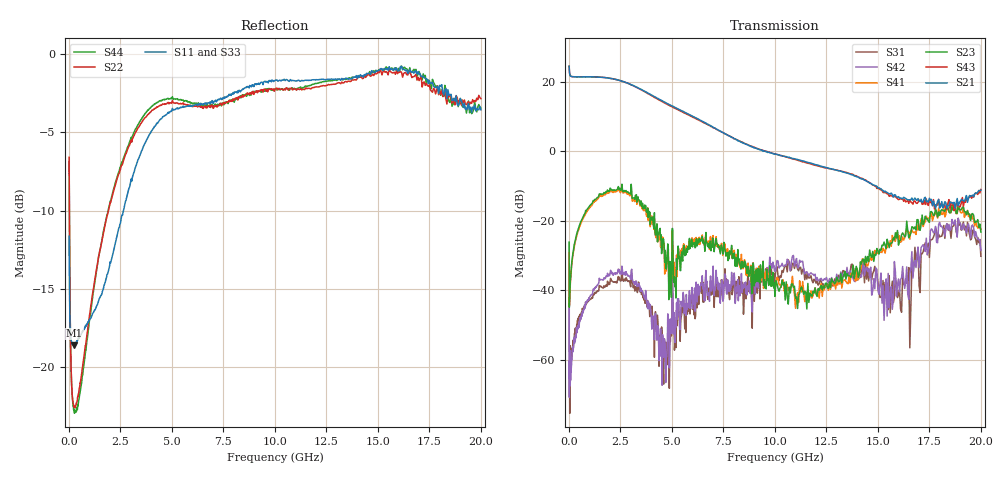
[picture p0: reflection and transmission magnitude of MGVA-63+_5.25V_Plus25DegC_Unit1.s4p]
!Mini-Circuits Laboratory
!S-Parameters
!Model: MGVA-63+
!Run / Lot / Date Code: NA / AH404P001-04 / 1348
!Fixture: NA; TB-561+
!AUTO PORT EXTENSION DONE: PORT<1>=113.62ps; PORT<2>=112.79ps; PORT<3>=112.29ps; PORT<4>=112.3ps
!Network Analyzer: PNA-X N5242A - 423 4 ports;  Serial number: 71256
!Date: 2/10/20114
!S/N: Unit# 1
!Correction: S11(Full 4 Port(1,2,3,4))
!S12(Full 4 Port(1,2,3,4))
!S13(Full 4 Port(1,2,3,4))
!S14(Full 4 Port(1,2,3,4))
!S21(Full 4 Port(1,2,3,4))
!S22(Full 4 Port(1,2,3,4))
!S23(Full 4 Port(1,2,3,4))
!S24(Full 4 Port(1,2,3,4))
!S31(Full 4 Port(1,2,3,4))
!S32(Full 4 Port(1,2,3,4))
!S33(Full 4 Port(1,2,3,4))
!S34(Full 4 Port(1,2,3,4))
!S41(Full 4 Port(1,2,3,4))
!S42(Full 4 Port(1,2,3,4))
!S43(Full 4 Port(1,2,3,4))
!S44(Full 4 Port(1,2,3,4))
!S4P File: Measurements: <S11,S12,S13,S14>,
!<S21,S22,S23,S24>,
!<S31,S32,S33,S34>,
!<S41,S42,S43,S44>:
# Hz S  dB  R 50
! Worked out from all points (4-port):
!   660 points, 10 MHz to 20 GHz, reference 50 ohm
!   strongest paths, dB at 10 MHz, 2.65 GHz, 6.775 GHz, 11.8 GHz, 20 GHz:
!     S21: 24.5, 20.1, 7.7, -3.5, -11.2
!     S43: 24.5, 20.0, 7.5, -3.8, -11.0
!     S23: -26.1, -11.6, -27.6, -41.7, -23.2
!     S41: -29.0, -12.0, -25.8, -42.2, -22.4
!     S42: -36.8, -35.4, -40.7, -35.2, -28.5
!     S31: -38.7, -37.4, -39.4, -37.1, -30.2
!   lowest |S11| = -18.6 dB at 270 MHz (marker M1), VSWR 1.27, Z = 39.5 + j1.1 ohm
!   |S11| at or under -10 dB: start of sweep to 2.643 GHz
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1e7  -11.62 -48.5  -27.15 22.0  -36.22 140.0  -46.57 148.3
     24.49 169.1  -6.58 -27.6  -26.11 152.3  -36.18 163.6
     -38.72 24.7  -46.44 14.9  -11.85 -48.8  -28.05 26.8
     -28.98 29.3  -36.75 19.8  24.47 168.7  -6.87 -29.6
2.7e8  -18.59 173.3  -24.60 -1.0  -51.19 83.8  -79.76 -45.5
       21.42 167.0  -22.50 -67.7  -26.58 67.3  -52.87 74.8
       -52.38 72.5  -74.44 -81.1  -18.49 174.8  -24.59 -1.3
       -27.17 68.5  -55.24 98.9  21.43 167.0  -22.93 -65.9
1.875e9  -14.04 129.4  -23.62 -23.5  -36.75 43.1  -58.45 104.0
         21.10 99.6  -10.24 162.8  -11.09 -39.9  -34.43 45.2
         -37.35 46.7  -58.65 110.2  -13.73 131.0  -23.61 -24.3
         -11.67 -37.9  -35.07 48.7  21.11 99.1  -10.17 160.7
3.375e9  -6.70 95.5  -23.98 -55.8  -37.91 -30.6  -54.63 63.4
         18.18 32.0  -4.67 93.7  -13.96 -161.6  -37.26 -38.8
         -37.60 -23.9  -56.06 73.2  -6.57 92.6  -24.20 -56.9
         -14.19 -161.0  -38.25 -31.2  18.14 30.7  -4.46 92.9
5.825e9  -3.28 61.3  -27.58 -90.0  -49.87 -44.6  -55.84 28.5
         10.64 -47.0  -3.24 52.2  -28.16 -107.9  -45.85 -41.0
         -42.23 -9.2  -51.53 47.5  -3.26 57.6  -27.80 -88.7
         -27.02 -86.2  -42.24 -11.6  10.39 -47.0  -3.03 56.0
8.75e9  -2.15 53.0  -30.42 -90.1  -40.19 -84.9  -37.14 -41.7
        1.58 -108.9  -2.57 51.2  -34.53 136.2  -38.67 -75.8
        -40.27 -85.7  -37.85 -42.1  -2.14 48.7  -29.87 -99.3
        -35.35 138.5  -37.25 -77.7  1.75 -110.4  -2.51 51.3
2e10  -3.56 -16.9  -32.71 -7.2  -28.75 84.4  -20.64 -60.7
      -11.15 106.0  -2.84 -7.2  -23.22 -60.0  -29.55 72.7
      -30.18 76.9  -20.77 -64.4  -3.51 -12.2  -26.64 42.1
      -22.39 -54.3  -28.54 81.5  -10.98 105.9  -3.45 -6.1
